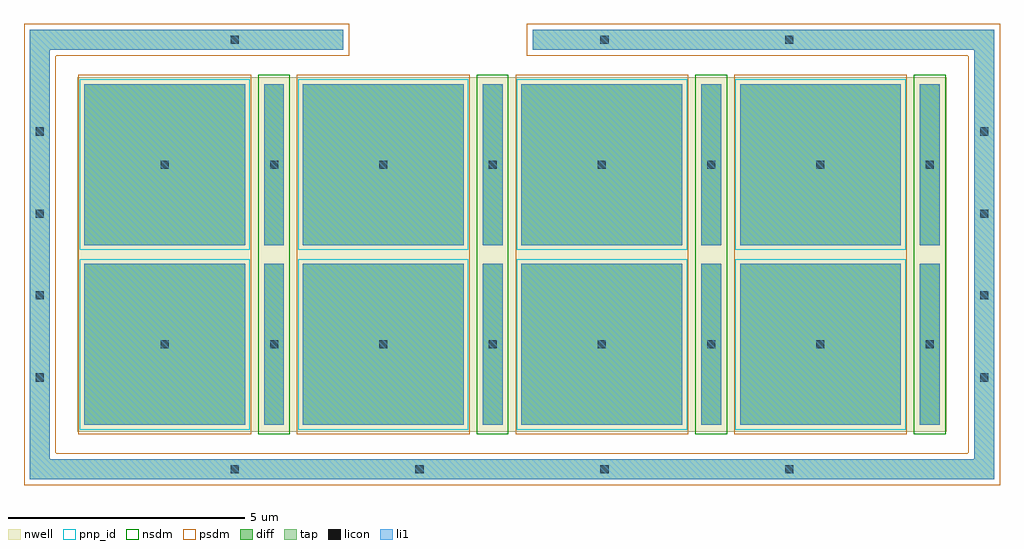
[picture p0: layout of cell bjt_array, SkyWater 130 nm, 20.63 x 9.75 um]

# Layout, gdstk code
import gdstk
lib = gdstk.Library(unit=1e-6, precision=1e-09)
def R(c, l, rs):  # rectangles x0, y0, x1, y1
    for r in rs: c.add(gdstk.rectangle(r[:2], r[2:], *l))
def A(c, l, x, y, w, h, nx, ny, dx, dy):  # array of equal rectangles
    R(c, l, [(x+i*dx, y+j*dy, x+i*dx+w, y+j*dy+h) for i in range(nx) for j in range(ny)])
def P(c, l, *ps):  # polygons
    for p in ps: c.add(gdstk.Polygon(p, *l))
nwell = (64, 20)
diff = (65, 20)
tap = (65, 44)
licon = (66, 44)
li1 = (67, 20)
pnp_id = (82, 44)
nsdm = (93, 44)
psdm = (94, 20)

bjt_array = lib.new_cell('bjt_array')
R(bjt_array, nwell, [(-0.15,-0.15,18.23,7.35)])
A(bjt_array, diff, 0, 0, 3.4, 3.4, 4, 2, 4.62, 3.8)
A(bjt_array, diff, 3.8, 0, 0.42, 3.4, 4, 2, 4.62, 3.8)
A(bjt_array, tap, 3.8, 0, 0.42, 3.4, 4, 2, 4.62, 3.8)
P(bjt_array, tap, [(-1.15,-1.15),(-1.15,8.35),(5.475,8.35),(5.475,7.93),(-0.73,7.93),(-0.73,-0.73),(18.81,-0.73),(18.81,7.93),(9.475,7.93),(9.475,8.35),(19.23,8.35),(19.23,-1.15)])
A(bjt_array, licon, 1.615, 1.615, 0.17, 0.17, 8, 2, 2.31, 3.8)
R(bjt_array, licon, [(3.095,-1.025,3.265,-0.855), (7,-1.025,7.17,-0.855), (10.91,-1.025,11.08,-0.855), (14.815,-1.025,14.985,-0.855), (-1.025,0.915,-0.855,1.085), (18.935,0.915,19.105,1.085), (-1.025,2.65,-0.855,2.82), (18.935,2.65,19.105,2.82), (-1.025,4.38,-0.855,4.55), (18.935,4.38,19.105,4.55), (-1.025,6.115,-0.855,6.285), (18.935,6.115,19.105,6.285), (3.095,8.055,3.265,8.225), (10.91,8.055,11.08,8.225), (14.815,8.055,14.985,8.225)])
A(bjt_array, li1, 0, 0, 3.4, 3.4, 4, 2, 4.62, 3.8)
A(bjt_array, li1, 3.8, 0, 0.42, 3.4, 4, 2, 4.62, 3.8)
P(bjt_array, li1, [(-1.15,-1.15),(-1.15,8.35),(5.475,8.35),(5.475,7.93),(-0.73,7.93),(-0.73,-0.73),(18.81,-0.73),(18.81,7.93),(9.475,7.93),(9.475,8.35),(19.23,8.35),(19.23,-1.15)])
A(bjt_array, pnp_id, -0.1, -0.1, 3.6, 3.6, 4, 2, 4.62, 3.8)
A(bjt_array, nsdm, 3.675, -0.2, 0.67, 3.8, 4, 2, 4.62, 3.8)
A(bjt_array, psdm, -0.125, -0.2, 3.65, 3.8, 4, 2, 4.62, 3.8)
P(bjt_array, psdm, [(-1.275,-1.275),(-1.275,8.475),(5.6,8.475),(5.6,7.805),(-0.605,7.805),(-0.605,-0.605),(18.685,-0.605),(18.685,7.805),(9.35,7.805),(9.35,8.475),(19.355,8.475),(19.355,-1.275)])

lib.write_gds('bjt_array.gds')
